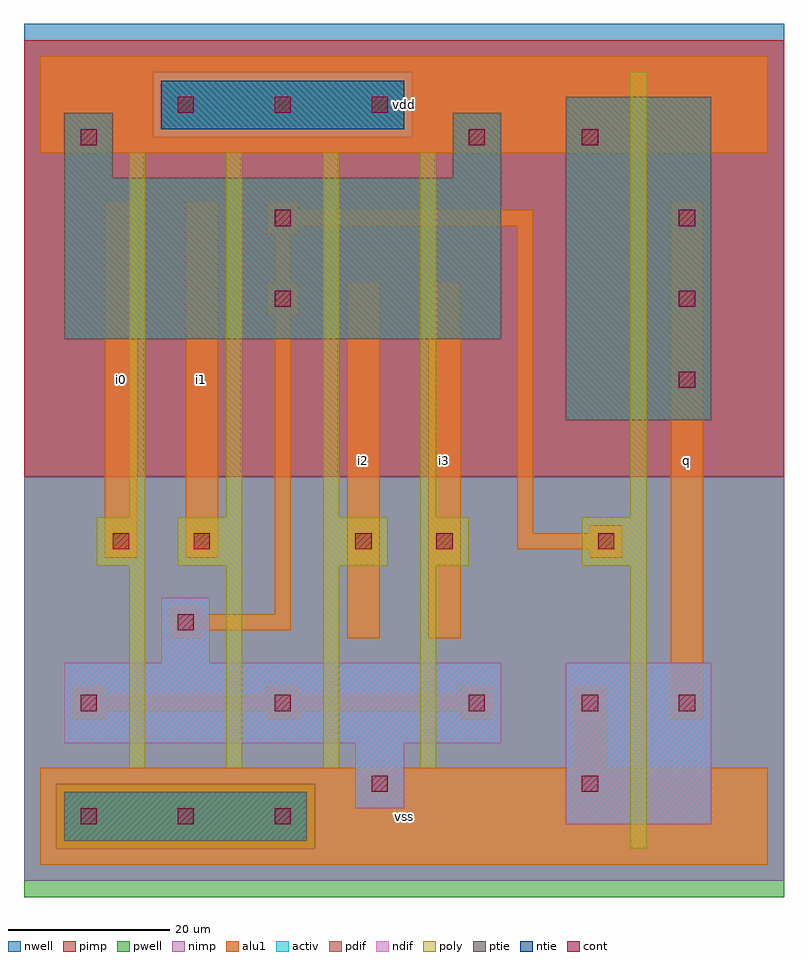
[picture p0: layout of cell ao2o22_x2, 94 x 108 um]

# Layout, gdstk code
import gdstk
lib = gdstk.Library(unit=1e-6, precision=1e-09)
def R(c, l, rs):  # rectangles x0, y0, x1, y1
    for r in rs: c.add(gdstk.rectangle(r[:2], r[2:], *l))
def A(c, l, x, y, w, h, nx, ny, dx, dy):  # array of equal rectangles
    R(c, l, [(x+i*dx, y+j*dy, x+i*dx+w, y+j*dy+h) for i in range(nx) for j in range(ny)])
ndif = (3, 0)
pdif = (4, 0)
ntie = (5, 0)
ptie = (6, 0)
cont = (25, 0)
pwell = (41, 0)
nwell = (42, 0)
activ = (43, 0)
pimp = (44, 0)
nimp = (45, 0)
poly = (46, 0)
alu1 = (49, 0)

ao2o22_x2 = lib.new_cell('ao2o22_x2')
R(ao2o22_x2, ndif, [(65,5,83,25), (39,7,45,15), (3,15,57,25), (15,25,21,33)])
R(ao2o22_x2, pdif, [(65,55,83,95), (3,65,57,85), (3,85,9,93), (51,85,57,93)])
R(ao2o22_x2, ntie, [(15,91,45,97)])
R(ao2o22_x2, ptie, [(3,3,33,9)])
A(ao2o22_x2, cont, 5, 5, 2, 2, 3, 1, 12, 0)
A(ao2o22_x2, cont, 5, 19, 2, 2, 3, 1, 24, 0)
A(ao2o22_x2, cont, 79, 59, 2, 2, 1, 3, 0, 10)
A(ao2o22_x2, cont, 17, 93, 2, 2, 3, 1, 12, 0)
R(ao2o22_x2, cont, [(41,9,43,11), (67,9,69,11), (67,19,69,21), (79,19,81,21), (17,29,19,31), (9,39,11,41), (19,39,21,41), (39,39,41,41), (49,39,51,41), (69,39,71,41), (29,69,31,71), (29,79,31,81), (5,89,7,91), (53,89,55,91), (67,89,69,91)])
R(ao2o22_x2, pwell, [(-2,-4,92,48)])
R(ao2o22_x2, nwell, [(-2,48,92,104)])
R(ao2o22_x2, activ, [(3,3,33,9), (65,5,83,25), (39,7,45,15), (3,15,57,25), (15,25,21,33), (65,55,83,95), (3,65,57,85), (3,85,9,93), (51,85,57,93), (15,91,45,97)])
R(ao2o22_x2, pimp, [(2,2,34,10), (-2,48,92,90), (-2,90,14,98), (46,90,92,98), (-2,98,92,102)])
R(ao2o22_x2, nimp, [(-2,-2,92,2), (-2,2,2,10), (34,2,92,10), (-2,10,92,48), (14,90,46,98)])
A(ao2o22_x2, poly, 11, 12, 2, 25, 4, 1, 12, 0)
A(ao2o22_x2, poly, 11, 43, 2, 45, 4, 1, 12, 0)
R(ao2o22_x2, poly, [(73,2,75,37), (7,37,13,43), (17,37,25,43), (35,37,43,43), (47,37,53,43), (67,37,75,43), (73,43,75,98)])
A(ao2o22_x2, alu1, 4, 18, 4, 1, 3, 2, 24, 3)
R(ao2o22_x2, alu1, [(0,0,90,12), (66,12,70,22), (78,18,82,82), (4,19,56,21), (16,28,20,29), (38,28,42,72), (48,28,52,72), (16,29,31,31), (16,31,20,32), (29,31,31,68), (8,38,12,82), (18,38,22,82), (68,38,72,39), (59,39,72,41), (59,41,61,79), (68,41,72,42), (28,68,32,72), (29,72,31,78), (28,78,32,79), (28,79,61,81), (28,81,32,82), (0,88,90,100)])
ao2o22_x2.add(gdstk.Label('i0', (10,60), layer=49, texttype=0))
ao2o22_x2.add(gdstk.Label('i2', (40,50), layer=49, texttype=0))
ao2o22_x2.add(gdstk.Label('i1', (20,60), layer=49, texttype=0))
ao2o22_x2.add(gdstk.Label('vss', (45,6), layer=49, texttype=0))
ao2o22_x2.add(gdstk.Label('i3', (50,50), layer=49, texttype=0))
ao2o22_x2.add(gdstk.Label('vdd', (45,94), layer=49, texttype=0))
ao2o22_x2.add(gdstk.Label('q', (80,50), layer=49, texttype=0))

lib.write_gds('ao2o22_x2.gds')
